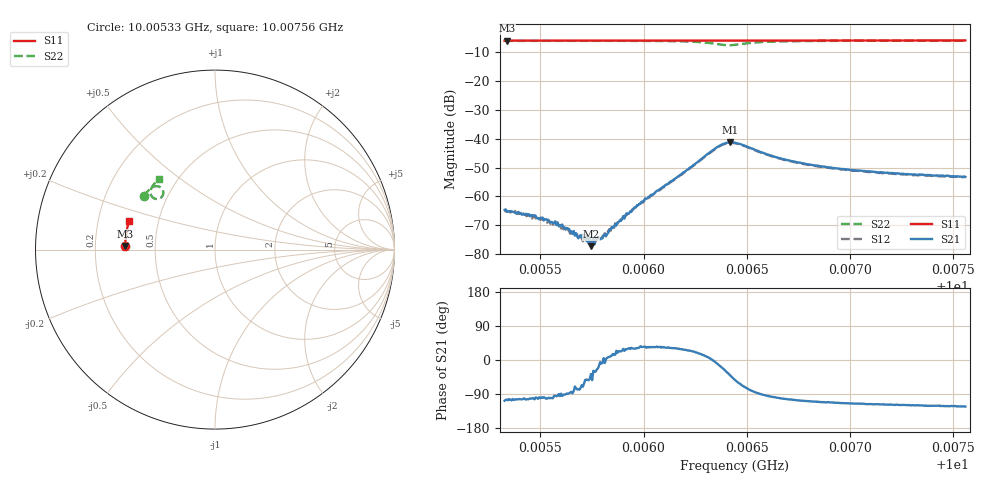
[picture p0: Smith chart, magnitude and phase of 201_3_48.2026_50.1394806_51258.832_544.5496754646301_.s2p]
#  HZ  S  RI  R  50.00
! Rohde & Schwarz Vector Network Analyzer
! Rohde-Schwarz,ZNB20-2Port,1311601062101988,3.16
! Created: UTC 3/20/2024, 11:45:03 AM
! freq[Hz]  re:S11  im:S11  re:S21  im:S21  re:S12  im:S12  re:S22  im:S22
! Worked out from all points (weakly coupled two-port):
!   401 points, 10.00533 GHz to 10.00756 GHz, reference 50 ohm
!   highest |S21| = -41.29 dB at 10.00642 GHz (marker M1); lowest = -77.3 dB at 10.00575 GHz (marker M2)
!   lowest |S11| = -6.0 dB at 10.00534 GHz (marker M3), VSWR 3.00, Z = 16.7 + j0.866 ohm
!   |S11| at or under -10 dB: nowhere
!   |S22| runs from -7.6 to -6.0 dB; largest |S21 - S12| = 0.00049
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1.0005326e10  -0.5 0.0187  -0.000174 -0.000556  -0.000124 -0.000549  -0.397 0.2973
1.0005338e10  -0.4999 0.0195  -0.000133 -0.000524  -0.000103 -0.000537  -0.3965 0.2979
1.0005466e10  -0.4998 0.0279  -9.11e-05 -0.00046  -6.64e-05 -0.000448  -0.3911 0.3056
1.0005555e10  -0.4996 0.0337  -6.77e-05 -0.000354  -3.91e-05 -0.000352  -0.3872 0.3109
1.0005583e10  -0.4995 0.0355  -2.82e-05 -0.000352  2.14e-06 -0.000347  -0.3859 0.3127
1.0005611e10  -0.4995 0.0374  -7.91e-06 -0.000288  -6.02e-06 -0.000269  -0.3844 0.3144
1.0005628e10  -0.4995 0.0385  8.14e-06 -0.000283  2.75e-05 -0.000294  -0.3838 0.3155
1.0005678e10  -0.4995 0.0416  4.34e-05 -0.000198  4.84e-05 -0.000213  -0.3813 0.3184
1.0005701e10  -0.4993 0.043  7.81e-05 -0.000178  0.000107 -0.000152  -0.3802 0.32
1.0005745e10  -0.4991 0.046  0.000109 -8.21e-05  0.000126 -0.000102  -0.3776 0.3226
1.0005796e10  -0.4989 0.0493  0.000184 -3.11e-05  0.000168 1.67e-05  -0.3749 0.3258
1.0005812e10  -0.4988 0.0504  0.000218 -3.06e-05  0.000229 1.61e-05  -0.3738 0.3268
1.0005913e10  -0.4984 0.0568  0.00042 0.000229  0.000405 0.000216  -0.3675 0.3335
1.0006075e10  -0.4973 0.0673  0.00108 0.000731  0.00102 0.000754  -0.3535 0.3448
1.0006349e10  -0.4946 0.085  0.00676 -0.000681  0.00666 -0.000312  -0.2912 0.3321
1.0006388e10  -0.494 0.0871  0.00744 -0.00323  0.00742 -0.00281  -0.2891 0.3076
1.0006421e10  -0.4938 0.089  0.00648 -0.00568  0.0066 -0.00527  -0.3024 0.2884
1.0006444e10  -0.4937 0.0902  0.00515 -0.00677  0.00538 -0.00637  -0.3162 0.2824
1.000665e10  -0.492 0.1035  -0.00079 -0.00464  -0.000574 -0.00459  -0.3592 0.3256
1.0006818e10  -0.4903 0.1142  -0.00116 -0.00329  -0.000995 -0.00328  -0.3519 0.3468
1.0007192e10  -0.485 0.1379  -0.00119 -0.00221  -0.00105 -0.00226  -0.3324 0.3733
1.0007561e10  -0.4786 0.1608  -0.00118 -0.00182  -0.00106 -0.00189  -0.3133 0.3925
